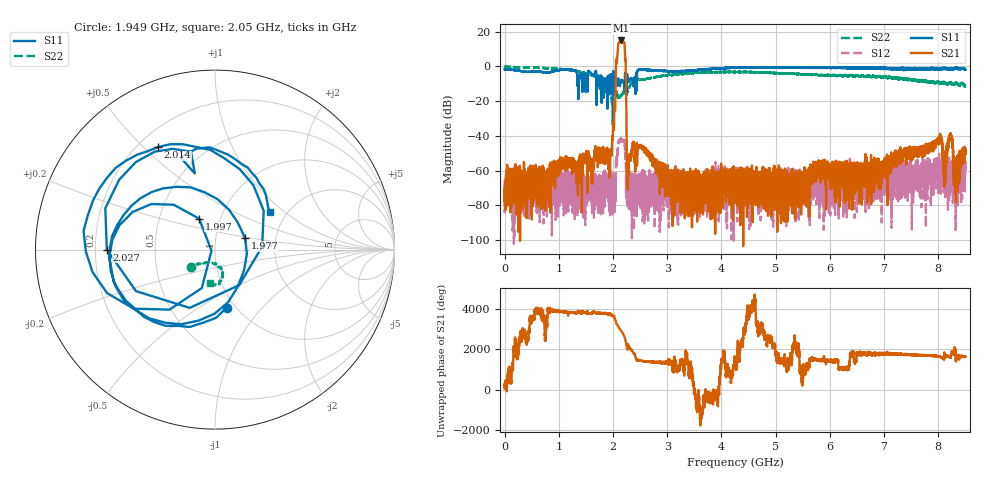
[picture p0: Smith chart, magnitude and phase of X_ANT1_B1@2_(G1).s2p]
#  HZ  S  RI  R  50.00
! Rohde & Schwarz Vector Network Analyzer
! Rohde-Schwarz,ZNBT8-20Port,1318700624101681,3.50
! Created: UTC 7/15/2025, 2:07:52 PM
! freq[Hz]  re:S1010  im:S1010  re:S0510  im:S0510  re:S1005  im:S1005  re:S55  im:S55
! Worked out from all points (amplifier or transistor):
!   8500 points, 1 MHz to 8.5 GHz, reference 50 ohm
!   highest |S21| = 15.0 dB at 2.143 GHz (marker M1)
!   |S21| within 3 dB of that: 2.095 GHz to 2.215 GHz (119.8 MHz wide, 5.56 % of centre)
!   unconditionally stable (mu >= 1): start of sweep to end of sweep
!   at 1.417 GHz: K = 224151.49, MAG = -50.7 dB, |S12| = -66.9 dB
!   at 4.251 GHz: K = 143291.22, MAG = -53.1 dB, |S12| = -67.2 dB
!   at 8.5 GHz: K = 20836.41, MAG = -42.6 dB, |S12| = -54.8 dB
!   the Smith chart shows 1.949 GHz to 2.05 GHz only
!   S11 on the Smith chart (normalised r, x): 1.949 GHz: 0.91, -0.66; 1.977 GHz: 1.39, +0.19; 1.997 GHz: 0.79, +0.28; 2.014 GHz: 0.28, +0.55; 2.027 GHz: 0.25, -0.00; 2.05 GHz: 1.63, +0.79
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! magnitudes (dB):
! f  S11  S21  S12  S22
! 1 MHz  -1.7  -74.3  -74.6  -0.2
! 1.418 GHz  -5.1  -56.5  -68.8  -3.2
! 1.949 GHz  -9.7  -52.4  -71.4  -15.5
! 1.977 GHz  -14.9  -49.7  -66.6  -19.4
! 1.997 GHz  -14.3  -40.3  -71.4  -21.8
! 2.014 GHz  -3.7  -35.8  -69.9  -18.2
! 2.027 GHz  -4.4  -19.7  -69.9  -15.4
! 2.05 GHz  -8.6  -8.9  -64.8  -14.6
! 2.143 GHz  -9.1  15.0  -41.6  -16.7
! 2.205 GHz  -11.0  13.8  -42.9  -14.6
! 2.293 GHz  -8.5  -51.6  -67.1  -12.4
! 2.507 GHz  -1.9  -45.6  -76.7  -7.5
! 2.834 GHz  -2.5  -60.1  -76.5  -5.8
! 3.394 GHz  -2.5  -70.8  -77.7  -4.1
! 4.251 GHz  -0.7  -64.2  -67.2  -3.2
! 5.667 GHz  -0.4  -66.7  -65.2  -4.8
! 7.084 GHz  -1.2  -54.3  -55.6  -6.1
! 8.021 GHz  -1.2  -40.6  -53.4  -9.3
! 8.125 GHz  -0.9  -59.2  -73.2  -9.9
! 8.223 GHz  -1.8  -40.0  -57.7  -9.7
! 8.324 GHz  -0.9  -63.8  -55.2  -9.5
! 8.5 GHz  -1.8  -47.7  -54.8  -11.0
